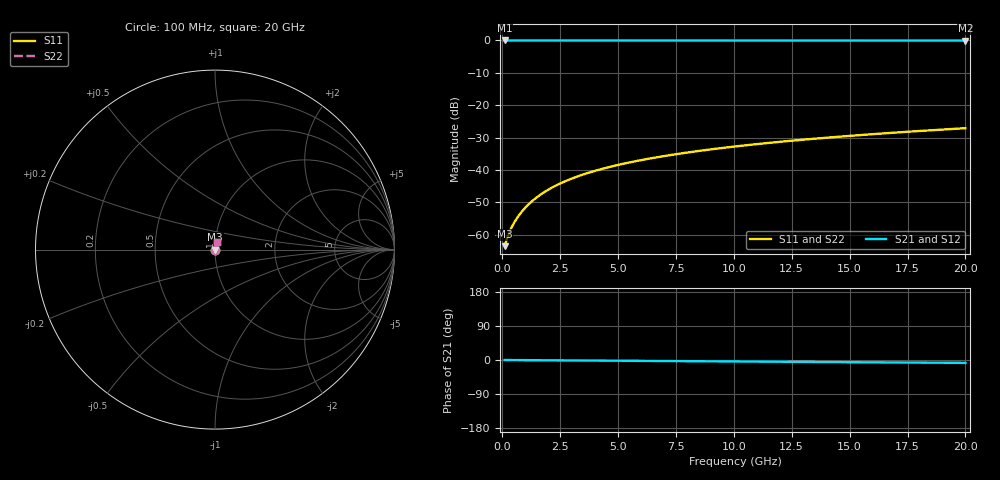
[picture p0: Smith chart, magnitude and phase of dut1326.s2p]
! Touchstone file exported from HFSS 2026.1.0
!  File:  C:/ffzhzh/LocalFiles/Ansys_Project_Files/temp_train_BSMRDL_1326_1783178607_55132.aedt
!  Generated:  11:24:36 PM Jul  4, 2026
!  Design:  BSMRDL
!  Project:  temp_train_BSMRDL_1326_1783178607_55132
! Variables:
!  h_bsmrdl = 4.4um
!  h_ox = 20um
!  h_rdl = 5um
!  h_sub = 80um
!  h_tmrdl = 5um
!  h_tsv = 80um
!  h_via = 3um
!  l_bsmrdl = 109.15um
!  l_sub = 509.15um
!  l_tmrdl = 200um
!  m_sub = 200um
!  pitch = 32.42um
!  r_tsv = 6um
!  s_tmrdl = 10um
!  w_bsmrdl = 21.88um
!  w_sub = 500um
!  w_tmrdl = 12um
!  x_tsv_center1 = 206um
!  x_tsv_center2 = 337.03um
!  x_tsv_center3 = 549.03um
!  x_tsv_center4 = 680.06um
!  x_tsv_center5 = 892.06um
!  x_tsv_center6 = 1023.09um
# GHz S MA R 50.000000
! Terminal data exported
! Port[1] = BSM_RDL1_1_T1
! Port[2] = BSM_RDL1_1_T2
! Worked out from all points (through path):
!   200 points, 100 MHz to 20 GHz, reference 50 ohm
!   highest |S21| = -0.01 dB at 100 MHz (marker M1); lowest = 0.0 dB at 20 GHz (marker M2)
!   group delay of S21, straight-line fit = 1.05 ps
!   lowest |S11| = -63.5 dB at 100 MHz (marker M3), VSWR 1.00, Z = 50.1 + j0.031 ohm
!   |S11| at or under -10 dB: start of sweep to end of sweep
!   |S22| runs from -63.5 to -27.1 dB; largest |S21 - S12| = 4.7e-15
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0.1  0.0006648 27.8  0.9994 -0.0  0.9994 -0.0  0.0006648 27.8
! Gamma 0 0 0 0
! Port Impedance 50 0 50 0
0.2  0.0008658 42.8  0.9994 -0.1  0.9994 -0.1  0.0008658 42.8
0.3  0.00108 51.0  0.9993 -0.1  0.9993 -0.1  0.00108 51.0
0.4  0.001292 56.6  0.9993 -0.2  0.9993 -0.2  0.001292 56.6
0.5  0.001507 60.8  0.9993 -0.2  0.9993 -0.2  0.001507 60.8
0.6  0.001725 64.1  0.9993 -0.2  0.9993 -0.2  0.001725 64.1
0.8  0.002171 68.8  0.9992 -0.3  0.9992 -0.3  0.002171 68.8
1  0.00263 72.0  0.9992 -0.4  0.9992 -0.4  0.00263 72.0
1.2  0.003096 74.3  0.9992 -0.5  0.9992 -0.5  0.003096 74.3
1.4  0.003567 75.9  0.9992 -0.6  0.9992 -0.6  0.003567 75.9
1.7  0.004277 77.6  0.9991 -0.7  0.9991 -0.7  0.004277 77.6
2.2  0.005464 79.3  0.999 -0.9  0.999 -0.9  0.005464 79.3
2.8  0.006882 80.3  0.9989 -1.1  0.9989 -1.1  0.006882 80.3
3.5  0.008519 80.9  0.9988 -1.4  0.9988 -1.4  0.008519 80.9
4.2  0.01013 81.1  0.9987 -1.6  0.9987 -1.6  0.01013 81.1
5  0.01196 81.2  0.9985 -2.0  0.9985 -2.0  0.01196 81.2
6.8  0.01597 81.1  0.9981 -2.6  0.9981 -2.6  0.01597 81.1
8.3  0.01925 80.9  0.9978 -3.2  0.9978 -3.2  0.01925 80.9
10.1  0.02314 80.6  0.9975 -3.9  0.9975 -3.9  0.02314 80.6
13.4  0.0302 79.9  0.9969 -5.1  0.9969 -5.1  0.0302 79.9
16.7  0.03718 79.1  0.9964 -6.4  0.9964 -6.4  0.03719 79.1
20  0.04412 78.2  0.9958 -7.6  0.9958 -7.6  0.04412 78.2
